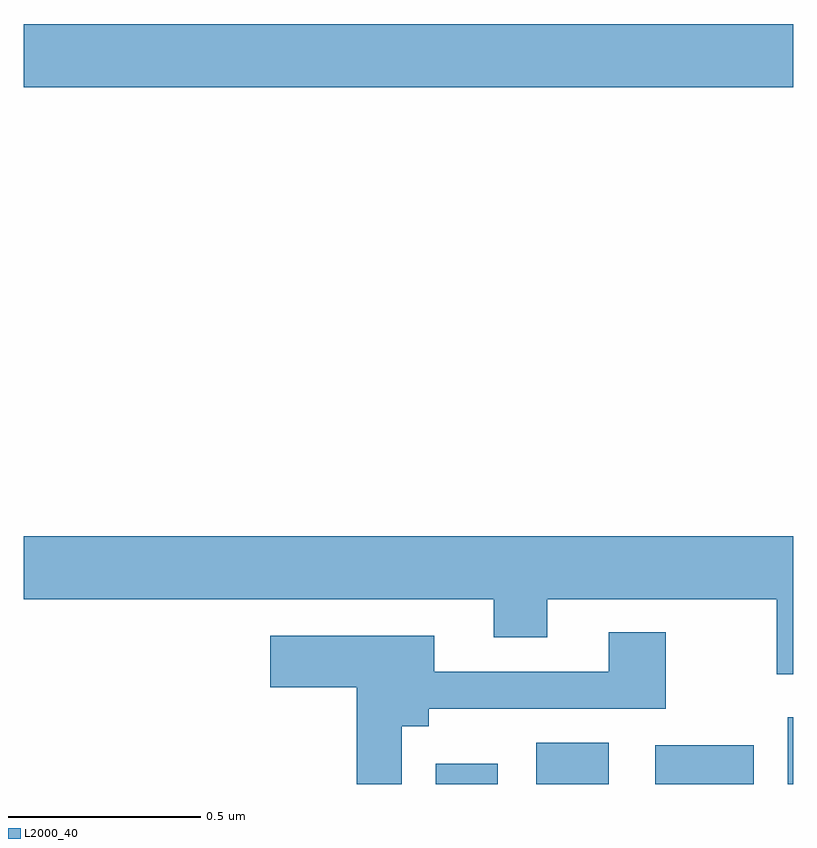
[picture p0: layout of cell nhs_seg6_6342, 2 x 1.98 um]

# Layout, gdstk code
import gdstk
lib = gdstk.Library(unit=1e-6, precision=1e-09)
def R(c, l, rs):  # rectangles x0, y0, x1, y1
    for r in rs: c.add(gdstk.rectangle(r[:2], r[2:], *l))
def P(c, l, *ps):  # polygons
    for p in ps: c.add(gdstk.Polygon(p, *l))
L2000_40 = (2000, 40)

nhs_seg6_6342 = lib.new_cell('nhs_seg6_6342')
R(nhs_seg6_6342, L2000_40, [(195.071,969.5,195.232,969.553), (195.332,969.5,195.52,969.607), (195.641,969.5,195.898,969.601), (195.986,969.5,196,969.673), (194,971.312,196,971.476)])
P(nhs_seg6_6342, L2000_40, [(196,970.144),(194,970.144),(194,969.98),(195.221,969.98),(195.221,969.881),(195.361,969.881),(195.361,969.98),(195.958,969.98),(195.958,969.786),(196,969.786)],
  [(194.982,969.65),(195.052,969.65),(195.052,969.696),(195.669,969.696),(195.669,969.895),(195.521,969.895),(195.521,969.792),(195.067,969.792),(195.067,969.886),(194.64,969.886),(194.64,969.752),(194.866,969.752),(194.866,969.5),(194.982,969.5)])

lib.write_gds('nhs_seg6_6342.gds')
